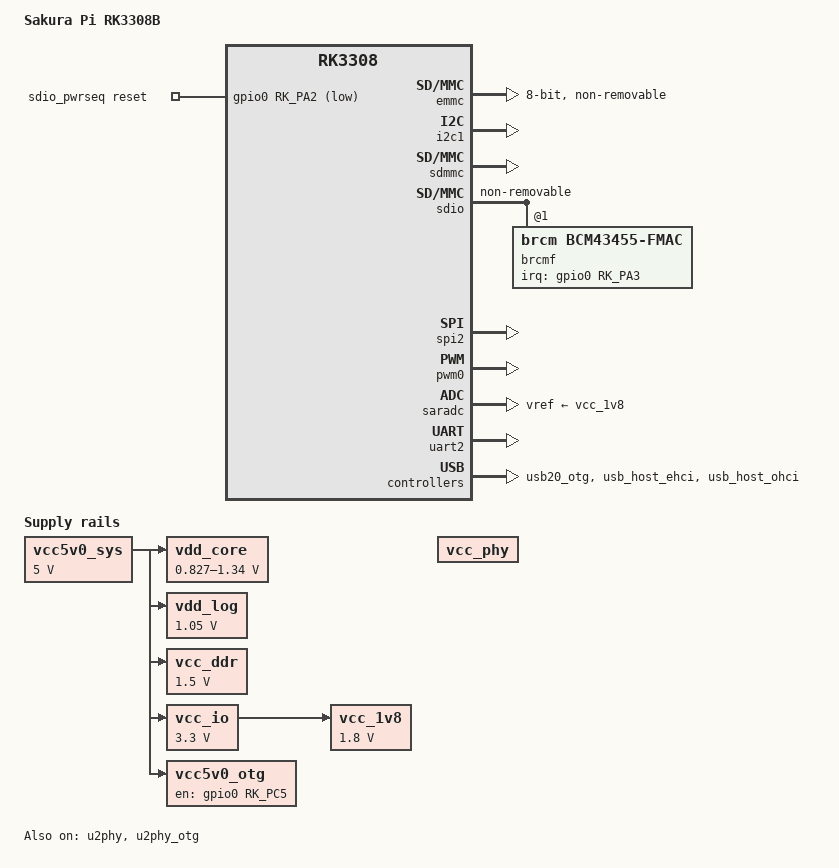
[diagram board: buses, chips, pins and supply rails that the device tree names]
// SPDX-License-Identifier: (GPL-2.0+ OR MIT)
/*
 * Copyright (c) 2019 Akash Gajjar <akash@openedev.com>
 * Copyright (c) 2019 Jagan Teki <jagan@openedev.com>
 * Copyright (C) 2024 Chiyuki Akatsuki
 */

/dts-v1/;
#include "rk3308.dtsi"

/ {
	model = "Sakura Pi RK3308B";
	compatible = "rockchip,rk3308";

	chosen {
		stdout-path = "serial2:1500000n8";
	};

	sdio_pwrseq: sdio-pwrseq {
		compatible = "mmc-pwrseq-simple";
		pinctrl-0 = <&wifi_enable_h>;
		pinctrl-names = "default";
		/*
		 * On the module itself this is one of these (depending
		 * on the actual card populated):
		 * - SDIO_RESET_L_WL_REG_ON
		 * - PDN (power down when low)
		 */
		reset-gpios = <&gpio0 RK_PA2 GPIO_ACTIVE_LOW>;
	};

	vcc5v0_sys: vcc5v0-sys {
		compatible = "regulator-fixed";
		regulator-name = "vcc5v0_sys";
		regulator-always-on;
		regulator-boot-on;
		regulator-min-microvolt = <5000000>;
		regulator-max-microvolt = <5000000>;
	};

	vdd_core: vdd-core {
		compatible = "pwm-regulator";
		pwms = <&pwm0 0 5000 1>;
		regulator-name = "vdd_core";
		regulator-min-microvolt = <827000>;
		regulator-max-microvolt = <1340000>;
		regulator-init-microvolt = <1015000>;
		regulator-settling-time-up-us = <250>;
		regulator-always-on;
		regulator-boot-on;
		pwm-supply = <&vcc5v0_sys>;
	};

	vdd_log: vdd-log {
		compatible = "regulator-fixed";
		regulator-name = "vdd_log";
		regulator-always-on;
		regulator-boot-on;
		regulator-min-microvolt = <1050000>;
		regulator-max-microvolt = <1050000>;
		vin-supply = <&vcc5v0_sys>;
	};

	vcc_ddr: vcc-ddr {
		compatible = "regulator-fixed";
		regulator-name = "vcc_ddr";
		regulator-always-on;
		regulator-boot-on;
		regulator-min-microvolt = <1500000>;
		regulator-max-microvolt = <1500000>;
		vin-supply = <&vcc5v0_sys>;
	};

	vcc_1v8: vcc-1v8 {
		compatible = "regulator-fixed";
		regulator-name = "vcc_1v8";
		regulator-always-on;
		regulator-boot-on;
		regulator-min-microvolt = <1800000>;
		regulator-max-microvolt = <1800000>;
		vin-supply = <&vcc_io>;
	};

	vcc_io: vcc-io {
		compatible = "regulator-fixed";
		regulator-name = "vcc_io";
		regulator-always-on;
		regulator-boot-on;
		regulator-min-microvolt = <3300000>;
		regulator-max-microvolt = <3300000>;
		vin-supply = <&vcc5v0_sys>;
	};

	vcc_phy: vcc-phy-regulator {
		compatible = "regulator-fixed";
		regulator-name = "vcc_phy";
		regulator-always-on;
		regulator-boot-on;
	};

	vcc5v0_otg: vcc5v0-otg {
		compatible = "regulator-fixed";
		regulator-name = "vcc5v0_otg";
		regulator-always-on;
		gpio = <&gpio0 RK_PC5 GPIO_ACTIVE_HIGH>;
		enable-active-high;
		pinctrl-names = "default";
		pinctrl-0 = <&otg_vbus_drv>;
		vin-supply = <&vcc5v0_sys>;
	};
};

&cpu0 {
	cpu-supply = <&vdd_core>;
};

&emmc {
	bus-width = <8>;
	cap-mmc-highspeed;
	non-removable;
	status = "okay";
};

&i2c1 {
	status = "okay";
};

&sdmmc {
	cap-mmc-highspeed;
	cap-sd-highspeed;
	disable-wp;
	pinctrl-0 = <&sdmmc_clk &sdmmc_cmd &sdmmc_det &sdmmc_bus4>;
	card-detect-delay = <800>;
	status = "okay";
};

&sdio {
	#address-cells = <1>;
	#size-cells = <0>;
	cap-sd-highspeed;
	cap-sdio-irq;
	keep-power-in-suspend;
	mmc-pwrseq = <&sdio_pwrseq>;
	non-removable;
	no-mmc;
	status = "okay";

	brcmf: wifi@1 {
		compatible = "brcm,bcm43455-fmac";
		reg = <1>;
		interrupt-parent = <&gpio0>;
		interrupts = <RK_PA3 GPIO_ACTIVE_HIGH>;
		interrupt-names = "host-wake";
		pinctrl-names = "default";
		pinctrl-0 = <&wifi_host_wake>;
	};
};

&spi2 {
	status = "okay";
	max-freq = <10000000>;
};

&pinctrl {
	pinctrl-names = "default";
	pinctrl-0 = <&rtc_32k>;

	usb {
		otg_vbus_drv: otg-vbus-drv {
			rockchip,pins = <0 RK_PC5 RK_FUNC_GPIO &pcfg_pull_none>;
		};
	};

	sdio-pwrseq {
		wifi_enable_h: wifi-enable-h {
			rockchip,pins = <0 RK_PA2 RK_FUNC_GPIO &pcfg_pull_none>;
		};
	};

	wifi {
		wifi_host_wake: wifi-host-wake {
			rockchip,pins = <0 RK_PA0 RK_FUNC_GPIO &pcfg_pull_down>;
		};
	};
};

&pwm0 {
	status = "okay";
	pinctrl-0 = <&pwm0_pin_pull_down>;
};

&saradc {
	vref-supply = <&vcc_1v8>;
	status = "okay";
};

&uart2 {
	pinctrl-names = "default";
	pinctrl-0 = <&uart2m0_xfer>;
	status = "okay";
};

&usb20_otg {
	status = "okay";
};

&u2phy {
	status = "okay";
};

&u2phy_otg {
	status = "okay";
};

&u2phy_host {
	state = "okay";
};

&usb_host_ehci {
	status = "okay";
};

&usb_host_ohci{
	status = "okay";
};

